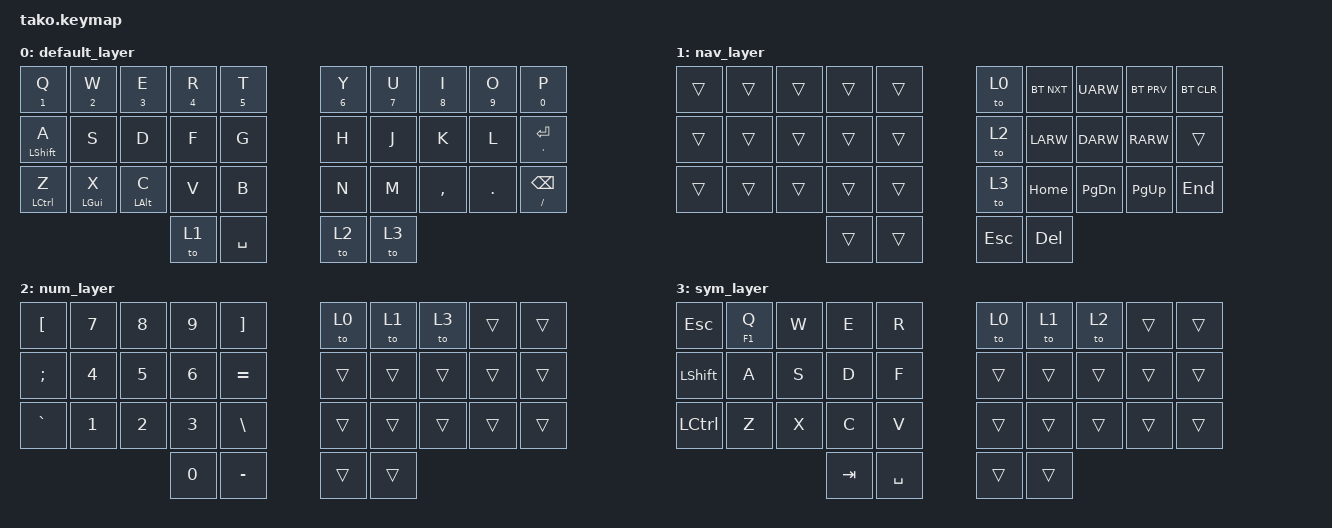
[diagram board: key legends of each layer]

/*
 * Copyright (c) 2020 The ZMK Contributors
 *
 * SPDX-License-Identifier: MIT
 */

#include <behaviors.dtsi>
#include <dt-bindings/zmk/keys.h>
#include <dt-bindings/zmk/bt.h>

#define NAV_L 1
#define NUM_L 2
#define SYM_L 3

// Using layer taps on thumbs, having quick tap as well helps w/ repeating space/backspace
&lt { quick_tap_ms = <200>; };

/ {
    behaviors {
        hm: homerow_mods {
            compatible = "zmk,behavior-hold-tap";
            label = "homerow mods";
            #binding-cells = <2>;
            tapping_term_ms = <200>;
            flavor = "tap-preferred";
            bindings = <&kp>, <&kp>;
        };
    };

    keymap {
        compatible = "zmk,keymap";

        default_layer {
            bindings = <
                &hm N1 Q         &hm N2 W       &hm N3 E         &hm N4 R       &hm N5 T      &hm N6 Y         &hm N7 U       &hm N8 I    &hm N9 O   &hm N0 P
                &hm LSHFT A      &kp S          &kp D            &kp F          &kp G         &kp H            &kp J          &kp K       &kp L      &hm QUOT ENTER
                &hm LCTRL Z      &hm LGUI X     &hm LALT C       &kp V          &kp B         &kp N            &kp M          &kp COMMA   &kp DOT    &hm FSLH BSPC
                                                &to 1            &kp SPACE      &to 2         &to 3
            >;
        };

        nav_layer {
            bindings = <
                &trans     &trans     &trans      &trans          &trans       &to 0            &bt BT_NXT     &kp UARW      &bt BT_PRV     &bt BT_CLR
                &trans     &trans     &trans      &trans          &trans       &to 2            &kp LARW       &kp DARW      &kp RARW       &trans
                &trans     &trans     &trans      &trans          &trans       &to 3            &kp HOME       &kp PG_DN     &kp PG_UP      &kp END
                                                  &trans          &trans       &kp ESC          &kp DEL
            >;
        };

        num_layer {
            bindings = <
                &kp LBKT   &kp N7     &kp N8      &kp N9          &kp RBKT      &to 0           &to 1          &to 3       &trans     &trans
                &kp SEMI   &kp N4     &kp N5      &kp N6          &kp EQUAL     &trans          &trans         &trans      &trans     &trans
                &kp GRAVE  &kp N1     &kp N2      &kp N3          &kp BSLH      &trans          &trans         &trans      &trans     &trans
                                                  &kp N0          &kp MINUS     &trans          &trans
            >;
        };

        sym_layer {
            bindings = <
                &kp ESC    &hm F1 Q   &kp W       &kp E           &kp R         &to 0           &to 1          &to 2       &trans     &trans
                &kp LSHFT  &kp A      &kp S       &kp D           &kp F         &trans          &trans         &trans      &trans     &trans
                &kp LCTRL  &kp Z      &kp X       &kp C           &kp V         &trans          &trans         &trans      &trans     &trans
                                                  &kp TAB         &kp SPACE     &trans          &trans
            >;
        };
    };
};
